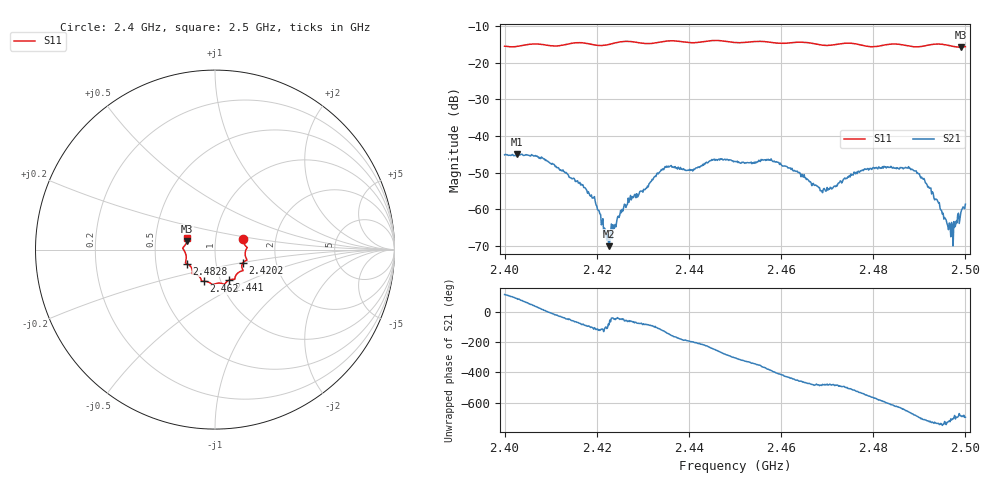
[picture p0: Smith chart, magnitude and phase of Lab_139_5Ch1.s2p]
# Hz S RI R 50
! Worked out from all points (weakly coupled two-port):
!   601 points, 2.4 GHz to 2.5 GHz, reference 50 ohm
!   highest |S21| = -44.95 dB at 2.4027 GHz (marker M1); lowest = -70.1 dB at 2.4227 GHz (marker M2)
!   lowest |S11| = -15.8 dB at 2.499 GHz (marker M3), VSWR 1.39, Z = 36.4 + j3.6 ohm
!   |S11| at or under -10 dB: start of sweep to end of sweep
!   S12 and S22 are empty: the file has one direction only
!   S11 on the Smith chart (normalised r, x): 2.4 GHz: 1.36, +0.17; 2.4202 GHz: 1.35, -0.20; 2.441 GHz: 1.10, -0.39; 2.462 GHz: 0.83, -0.30; 2.4828 GHz: 0.72, -0.12; 2.5 GHz: 0.73, +0.09
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2.4e9  0.1568 0.0606  -0.00228 0.00504  0 0  0 0
2.402667e9  0.1637 0.0299  0.000173 0.00566  0 0  0 0
2.4085e9  0.1758 0.00488  0.00477 0.0009  0 0  0 0
2.416667e9  0.1776 -0.0593  0.000246 -0.00218  0 0  0 0
2.420167e9  0.1567 -0.0719  -0.000383 -0.000915  0 0  0 0
2.422667e9  0.1492 -0.0958  2.06e-05 -0.000313  0 0  0 0
2.427167e9  0.1552 -0.1176  0.000599 -0.00126  0 0  0 0
2.433333e9  0.1126 -0.152  -0.00105 -0.00286  0 0  0 0
2.435667e9  0.1105 -0.165  -0.00313 -0.0021  0 0  0 0
2.441e9  0.0773 -0.1707  -0.00332 0.00118  0 0  0 0
2.45e9  0.0268 -0.1865  0.00254 0.00372  0 0  0 0
2.457333e9  -0.0207 -0.1901  0.00437 -0.00169  0 0  0 0
2.462e9  -0.0617 -0.176  0.000659 -0.0036  0 0  0 0
2.466667e9  -0.0772 -0.1672  -0.00106 -0.00181  0 0  0 0
2.469333e9  -0.0903 -0.1472  -0.00107 -0.0016  0 0  0 0
2.476333e9  -0.126 -0.1285  -0.00312 -0.000761  0 0  0 0
2.482833e9  -0.1579 -0.0777  -0.00175 0.00321  0 0  0 0
2.483333e9  -0.1608 -0.0766  -0.00153 0.0034  0 0  0 0
2.489667e9  -0.1623 -0.0269  0.00278 0.00142  0 0  0 0
2.496833e9  -0.1677 0.0231  0.000412 8.82e-05  0 0  0 0
2.499e9  -0.1554 0.0481  0.000759 0.000474  0 0  0 0
2.5e9  -0.1533 0.0621  0.00108 0.000446  0 0  0 0
